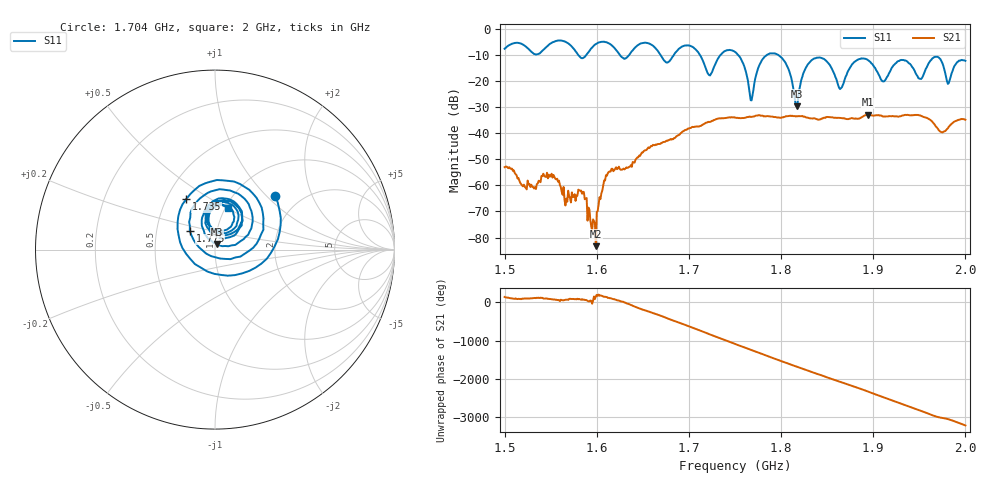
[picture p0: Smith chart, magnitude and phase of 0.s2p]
! NanoVNA-App by SYSJOINT et al v1.1.209 (+OD18)
! Date: 2026-01-21 14:43:27
! Start: 1,5GHz Stop: 2GHz Points: 501
! S-Parameter data: F S11 S21 S12 S22
# Hz S RI R 50
!  Frequency  S11_Real  S11_Imag  S21_Real  S21_Imag  S12_Real  S12_Imag  S22_Real  S22_Imag
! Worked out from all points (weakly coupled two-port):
!   501 points, 1.5 GHz to 2 GHz, reference 50 ohm
!   highest |S21| = -32.88 dB at 1.894 GHz (marker M1); lowest = -83.3 dB at 1.599 GHz (marker M2)
!   lowest |S11| = -29.7 dB at 1.817 GHz (marker M3), VSWR 1.07, Z = 50.8 + j3.23 ohm
!   |S11| at or under -10 dB: 1.712 GHz to 1.734 GHz (22.63 MHz wide, 1.31 % of centre); 1.753 GHz to 1.785 GHz (31.52 MHz wide, 1.78 % of centre); 1.797 GHz to end of sweep (the widest 3 of 6)
!   S12 and S22 are empty: the file has one direction only
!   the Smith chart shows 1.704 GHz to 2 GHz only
!   S11 on the Smith chart (normalised r, x): 1.704 GHz: 1.51, +1.12; 1.735 GHz: 0.63, +0.39; 1.775 GHz: 0.74, +0.16; 2 GHz: 1.02, +0.51
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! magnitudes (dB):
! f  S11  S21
! 1.5 GHz  -7.7  -53.0
! 1.584 GHz  -11.3  -63.2
! 1.599 GHz  -5.9  -83.3
! 1.612 GHz  -5.4  -55.3
! 1.667 GHz  -8.9  -44.1
! 1.704 GHz  -7.0  -37.6
! 1.722 GHz  -17.8  -35.7
! 1.735 GHz  -9.8  -34.3
! 1.75 GHz  -8.9  -34.0
! 1.767 GHz  -27.4  -33.8
! 1.775 GHz  -15.2  -33.2
! 1.799 GHz  -10.6  -34.1
! 1.817 GHz  -29.7  -33.5
! 1.834 GHz  -11.8  -34.4
! 1.864 GHz  -23.1  -34.2
! 1.894 GHz  -11.9  -32.9
! 1.917 GHz  -17.1  -33.5
! 1.933 GHz  -12.0  -33.2
! 1.951 GHz  -19.2  -33.2
! 1.969 GHz  -10.7  -37.8
! 1.982 GHz  -20.8  -37.5
! 2 GHz  -12.3  -34.9
